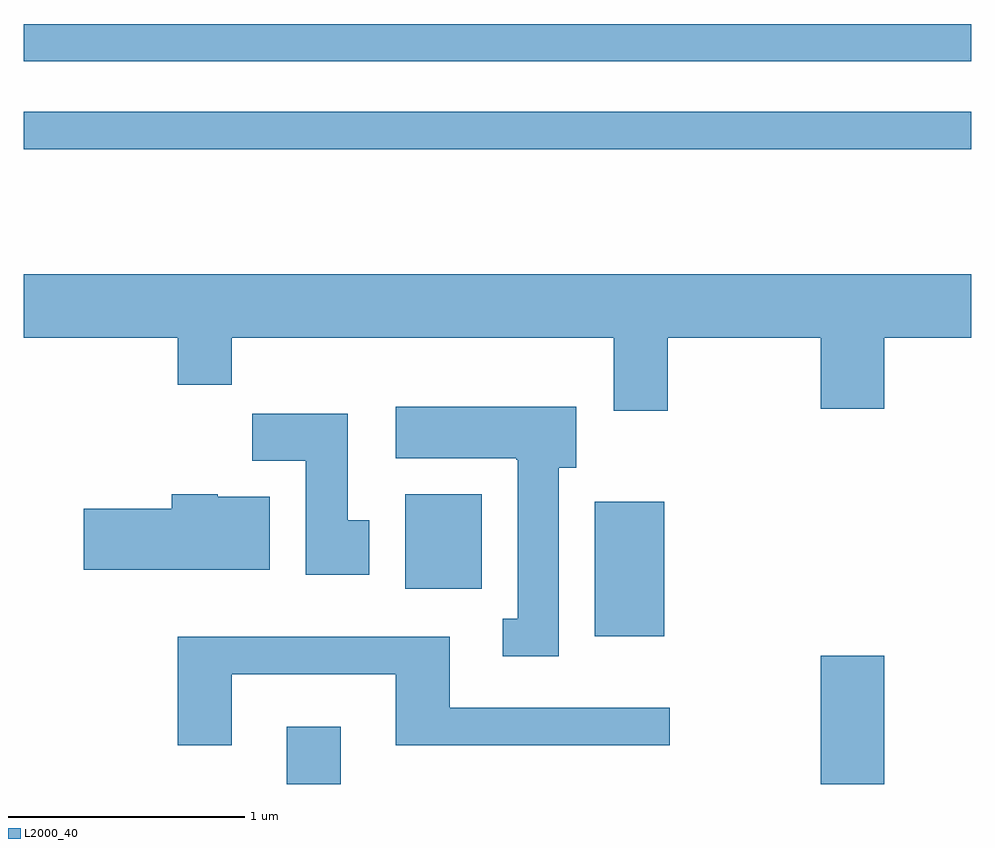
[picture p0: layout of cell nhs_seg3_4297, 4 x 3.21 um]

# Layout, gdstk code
import gdstk
lib = gdstk.Library(unit=1e-6, precision=1e-09)
def R(c, l, rs):  # rectangles x0, y0, x1, y1
    for r in rs: c.add(gdstk.rectangle(r[:2], r[2:], *l))
def P(c, l, *ps):  # polygons
    for p in ps: c.add(gdstk.Polygon(p, *l))
L2000_40 = (2000, 40)

nhs_seg3_4297 = lib.new_cell('nhs_seg3_4297')
R(nhs_seg3_4297, L2000_40, [(312.721,1141.892,312.949,1142.134), (314.976,1141.892,315.244,1142.434), (314.021,1142.516,314.314,1143.084), (313.221,1142.716,313.544,1143.114), (311.611,1144.571,315.611,1144.729), (311.611,1144.941,315.611,1145.099)])
P(nhs_seg3_4297, L2000_40, [(314.329,1143.776),(314.976,1143.776),(314.976,1143.476),(315.244,1143.476),(315.244,1143.776),(315.611,1143.776),(315.611,1144.044),(311.611,1144.044),(311.611,1143.776),(312.261,1143.776),(312.261,1143.576),(312.489,1143.576),(312.489,1143.776),(314.101,1143.776),(314.101,1143.466),(314.329,1143.466)],
  [(313.869,1143.226),(313.944,1143.226),(313.944,1143.484),(313.181,1143.484),(313.181,1143.266),(313.69,1143.266),(313.69,1143.26),(313.696,1143.26),(313.696,1142.589),(313.633,1142.589),(313.633,1142.431),(313.869,1142.431)],
  [(313.069,1143.004),(312.979,1143.004),(312.979,1143.454),(312.576,1143.454),(312.576,1143.256),(312.801,1143.256),(312.801,1142.776),(313.069,1142.776)],
  [(312.649,1143.104),(312.43,1143.104),(312.43,1143.114),(312.236,1143.114),(312.236,1143.054),(311.866,1143.054),(311.866,1142.796),(312.649,1142.796)],
  [(312.489,1142.356),(313.181,1142.356),(313.181,1142.056),(314.338,1142.056),(314.338,1142.214),(313.409,1142.214),(313.409,1142.514),(312.261,1142.514),(312.261,1142.056),(312.489,1142.056)])

lib.write_gds('nhs_seg3_4297.gds')
